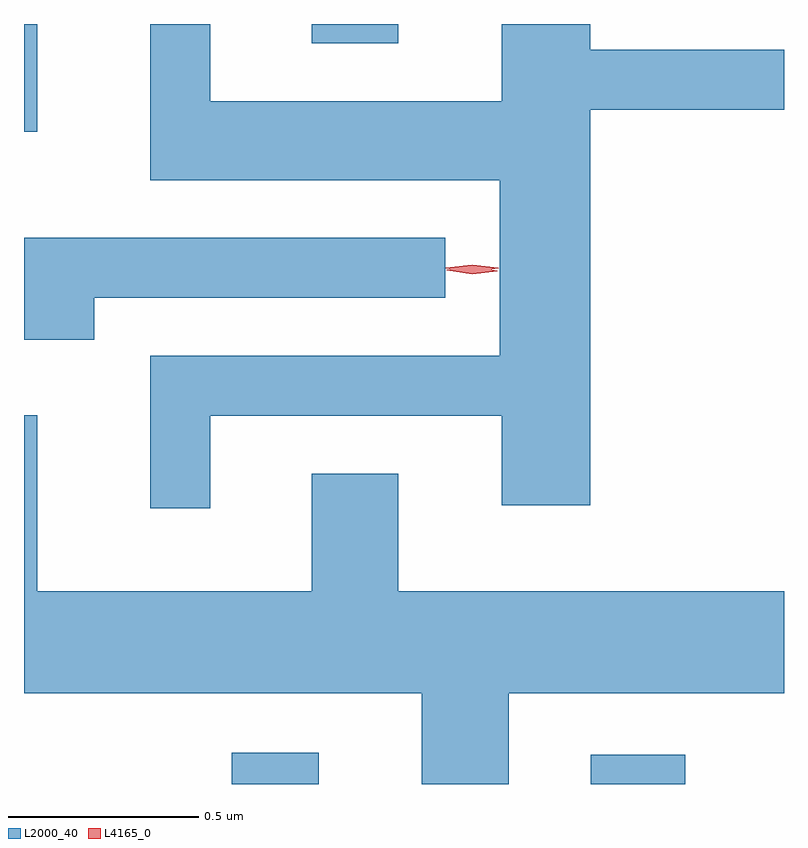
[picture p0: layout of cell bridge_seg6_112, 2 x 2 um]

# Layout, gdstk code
import gdstk
lib = gdstk.Library(unit=1e-6, precision=1e-09)
def R(c, l, rs):  # rectangles x0, y0, x1, y1
    for r in rs: c.add(gdstk.rectangle(r[:2], r[2:], *l))
def P(c, l, *ps):  # polygons
    for p in ps: c.add(gdstk.Polygon(p, *l))
L2000_40 = (2000, 40)
L4165_0 = (4165, 0)

bridge_seg6_112 = lib.new_cell('bridge_seg6_112')
R(bridge_seg6_112, L2000_40, [(1140.661,1640.817,1140.889,1640.899), (1141.606,1640.817,1141.854,1640.894), (1140.114,1642.533,1140.149,1642.817), (1140.871,1642.766,1141.099,1642.817)])
P(bridge_seg6_112, L2000_40, [(1140.604,1641.786),(1141.371,1641.786),(1141.371,1641.551),(1141.604,1641.551),(1141.604,1642.591),(1142.114,1642.591),(1142.114,1642.749),(1141.604,1642.749),(1141.604,1642.817),(1141.371,1642.817),(1141.371,1642.614),(1140.604,1642.614),(1140.604,1642.817),(1140.446,1642.817),(1140.446,1642.406),(1141.366,1642.406),(1141.366,1641.944),(1140.446,1641.944),(1140.446,1641.543),(1140.604,1641.543)],
  [(1140.299,1642.096),(1141.223,1642.096),(1141.223,1642.254),(1140.114,1642.254),(1140.114,1641.986),(1140.299,1641.986)],
  [(1141.161,1640.817),(1141.389,1640.817),(1141.389,1641.056),(1142.114,1641.056),(1142.114,1641.324),(1141.099,1641.324),(1141.099,1641.634),(1140.871,1641.634),(1140.871,1641.324),(1140.149,1641.324),(1140.149,1641.788),(1140.114,1641.788),(1140.114,1641.056),(1141.161,1641.056)])
P(bridge_seg6_112, L4165_0, [(1141.293,1642.164),(1141.224,1642.174),(1141.224,1642.175),(1141.224,1642.175),(1141.293,1642.184),(1141.362,1642.175),(1141.363,1642.174),(1141.362,1642.174)],
  [(1141.293,1642.159),(1141.227,1642.169),(1141.227,1642.17),(1141.227,1642.17),(1141.293,1642.179),(1141.359,1642.168),(1141.36,1642.168),(1141.359,1642.167)])

lib.write_gds('bridge_seg6_112.gds')
